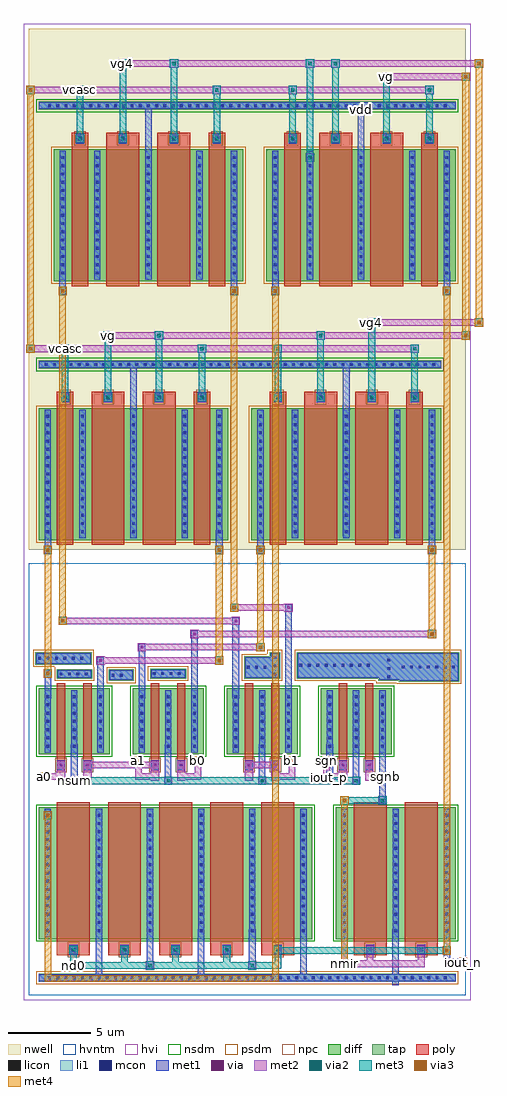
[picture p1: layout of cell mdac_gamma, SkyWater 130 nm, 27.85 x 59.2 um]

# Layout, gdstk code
import gdstk
lib = gdstk.Library(unit=1e-6, precision=1e-09)
def R(c, l, rs):  # rectangles x0, y0, x1, y1
    for r in rs: c.add(gdstk.rectangle(r[:2], r[2:], *l))
def A(c, l, x, y, w, h, nx, ny, dx, dy):  # array of equal rectangles
    R(c, l, [(x+i*dx, y+j*dy, x+i*dx+w, y+j*dy+h) for i in range(nx) for j in range(ny)])
def P(c, l, *ps):  # polygons
    for p in ps: c.add(gdstk.Polygon(p, *l))
nwell = (64, 20)
diff = (65, 20)
tap = (65, 44)
poly = (66, 20)
licon = (66, 44)
li1 = (67, 20)
mcon = (67, 44)
met1 = (68, 20)
via = (68, 44)
met2 = (69, 20)
via2 = (69, 44)
met3 = (70, 20)
via3 = (70, 44)
met4 = (71, 20)
hvi = (75, 20)
nsdm = (93, 44)
psdm = (94, 20)
npc = (95, 20)
hvntm = (125, 20)

mdac_gamma = lib.new_cell('mdac_gamma')
R(mdac_gamma, nwell, [(0.4,2.4,26.9,34)])
A(mdac_gamma, diff, 1, -10, 4.3, 4, 4, 1, 5.7, 0)
R(mdac_gamma, diff, [(1,-21.2,17.6,-13.2), (19,-21.2,26.3,-13.2), (1,3,12.5,11), (13.9,3,25.4,11), (1.9,18.7,13.4,26.7), (14.8,18.7,26.3,26.7)])
R(mdac_gamma, tap, [(1,-23.8,26.3,-23.3), (22.85,-5.6,26.5,-3.8), (5.25,-5.55,6.75,-4.85), (21.6,-5.55,22.85,-3.8), (2.1,-5.4,4.25,-4.85), (7.75,-5.4,9.945,-4.8), (13.45,-5.4,15,-4.05), (15,-5.4,15.65,-3.8), (16.65,-5.4,21.6,-3.8), (0.8,-4.55,4.2,-3.8), (1,13.4,25.4,13.9), (1,29.1,26.3,29.6)])
A(mdac_gamma, poly, 2.1, -22.2, 2, 0.7, 5, 1, 3.1, 0)
A(mdac_gamma, poly, 2.1, -21.5, 2, 8.6, 5, 1, 3.1, 0)
R(mdac_gamma, poly, [(20.1,-22.2,22.1,-21.5), (23.2,-22.2,25.2,-21.5), (20.1,-21.5,22.1,-12.9), (23.2,-21.5,25.2,-12.9), (2.1,-11,2.6,-10.3), (3.7,-11,4.2,-10.3), (7.8,-11,8.3,-10.3), (9.4,-11,9.9,-10.3), (13.5,-11,14,-10.3), (15.1,-11,15.6,-10.3), (19.2,-11,19.7,-10.3), (20.8,-11,21.3,-10.3), (2.1,-10.3,2.6,-5.7), (3.7,-10.3,4.2,-5.7), (7.8,-10.3,8.3,-5.7), (9.4,-10.3,9.9,-5.7), (13.5,-10.3,14,-5.7), (15.1,-10.3,15.6,-5.7), (19.2,-10.3,19.7,-5.7), (20.8,-10.3,21.3,-5.7), (2.1,2.7,3.1,12), (4.2,2.7,6.2,12), (7.3,2.7,9.3,12), (10.4,2.7,11.4,12), (15,2.7,16,12), (17.1,2.7,19.1,12), (20.2,2.7,22.2,12), (23.3,2.7,24.3,12), (3,18.4,4,27.7), (5.1,18.4,7.1,27.7), (8.2,18.4,10.2,27.7), (11.3,18.4,12.3,27.7), (15.9,18.4,16.9,27.7), (18,18.4,20,27.7), (21.1,18.4,23.1,27.7), (24.2,18.4,25.2,27.7)])
A(mdac_gamma, licon, 1.565, -23.635, 0.17, 0.17, 49, 2, 0.5, 52.9)
A(mdac_gamma, licon, 3.015, -21.935, 0.17, 0.17, 5, 1, 3.1, 0)
A(mdac_gamma, licon, 1.465, -20.785, 0.17, 0.17, 6, 15, 3.1, 0.5)
A(mdac_gamma, licon, 19.465, -20.785, 0.17, 0.17, 3, 15, 3.1, 0.5)
A(mdac_gamma, licon, 1.465, -9.585, 0.17, 0.17, 3, 7, 1.6, 0.5)
A(mdac_gamma, licon, 7.165, -9.585, 0.17, 0.17, 3, 7, 1.6, 0.5)
A(mdac_gamma, licon, 12.865, -9.585, 0.17, 0.17, 3, 7, 1.6, 0.5)
A(mdac_gamma, licon, 18.565, -9.585, 0.17, 0.17, 3, 7, 1.6, 0.5)
A(mdac_gamma, licon, 22.14, -5.385, 0.17, 0.17, 1, 3, 0, 0.51)
A(mdac_gamma, licon, 15.24, -5.235, 0.17, 0.17, 1, 3, 0, 0.51)
A(mdac_gamma, licon, 2.265, -5.21, 0.17, 0.17, 4, 1, 0.51, 0)
A(mdac_gamma, licon, 7.915, -5.185, 0.17, 0.17, 4, 1, 0.51, 0)
A(mdac_gamma, licon, 13.615, -4.81, 0.17, 0.17, 3, 1, 0.51, 0)
A(mdac_gamma, licon, 23.015, -4.785, 0.17, 0.17, 7, 1, 0.51, 0)
A(mdac_gamma, licon, 16.815, -4.685, 0.17, 0.17, 9, 1, 0.51, 0)
A(mdac_gamma, licon, 0.965, -4.26, 0.17, 0.17, 6, 1, 0.51, 0)
A(mdac_gamma, licon, 1.465, 3.415, 0.17, 0.17, 1, 15, 0, 0.5)
A(mdac_gamma, licon, 3.565, 3.415, 0.17, 0.17, 3, 15, 3.1, 0.5)
A(mdac_gamma, licon, 11.865, 3.415, 0.17, 0.17, 1, 15, 0, 0.5)
A(mdac_gamma, licon, 14.365, 3.415, 0.17, 0.17, 1, 15, 0, 0.5)
A(mdac_gamma, licon, 16.465, 3.415, 0.17, 0.17, 3, 15, 3.1, 0.5)
A(mdac_gamma, licon, 24.765, 3.415, 0.17, 0.17, 1, 15, 0, 0.5)
A(mdac_gamma, licon, 1.365, 13.565, 0.17, 0.17, 48, 1, 0.5, 0)
A(mdac_gamma, licon, 2.365, 19.115, 0.17, 0.17, 1, 15, 0, 0.5)
A(mdac_gamma, licon, 4.465, 19.115, 0.17, 0.17, 3, 15, 3.1, 0.5)
A(mdac_gamma, licon, 12.765, 19.115, 0.17, 0.17, 1, 15, 0, 0.5)
A(mdac_gamma, licon, 15.265, 19.115, 0.17, 0.17, 1, 15, 0, 0.5)
A(mdac_gamma, licon, 17.365, 19.115, 0.17, 0.17, 3, 15, 3.1, 0.5)
A(mdac_gamma, licon, 25.665, 19.115, 0.17, 0.17, 1, 15, 0, 0.5)
R(mdac_gamma, licon, [(21.015,-21.935,21.185,-21.765), (24.115,-21.935,24.285,-21.765), (2.265,-10.735,2.435,-10.565), (3.865,-10.735,4.035,-10.565), (7.965,-10.735,8.135,-10.565), (9.565,-10.735,9.735,-10.565), (13.665,-10.735,13.835,-10.565), (15.265,-10.735,15.435,-10.565), (19.365,-10.735,19.535,-10.565), (20.965,-10.735,21.135,-10.565), (5.415,-5.285,5.585,-5.115), (5.925,-5.285,6.095,-5.115), (2.515,11.565,2.685,11.735), (5.115,11.565,5.285,11.735), (8.215,11.565,8.385,11.735), (10.815,11.565,10.985,11.735), (15.415,11.565,15.585,11.735), (18.015,11.565,18.185,11.735), (21.115,11.565,21.285,11.735), (23.715,11.565,23.885,11.735), (3.415,27.265,3.585,27.435), (6.015,27.265,6.185,27.435), (9.115,27.265,9.285,27.435), (11.715,27.265,11.885,27.435), (16.315,27.265,16.485,27.435), (18.915,27.265,19.085,27.435), (22.015,27.265,22.185,27.435), (24.615,27.265,24.785,27.435)])
A(mdac_gamma, li1, 2.85, -22.15, 0.5, 0.6, 5, 1, 3.1, 0)
A(mdac_gamma, li1, 1.36, -21.1, 0.38, 7.8, 6, 1, 3.1, 0)
A(mdac_gamma, li1, 19.36, -21.1, 0.38, 7.8, 3, 1, 3.1, 0)
A(mdac_gamma, li1, 1.36, -9.9, 0.38, 3.8, 3, 1, 1.6, 0)
A(mdac_gamma, li1, 7.06, -9.9, 0.38, 3.8, 3, 1, 1.6, 0)
A(mdac_gamma, li1, 12.76, -9.9, 0.38, 3.8, 3, 1, 1.6, 0)
A(mdac_gamma, li1, 18.46, -9.9, 0.38, 3.8, 3, 1, 1.6, 0)
A(mdac_gamma, li1, 3.46, 3.1, 0.38, 7.8, 3, 1, 3.1, 0)
A(mdac_gamma, li1, 16.36, 3.1, 0.38, 7.8, 3, 1, 3.1, 0)
A(mdac_gamma, li1, 4.36, 18.8, 0.38, 7.8, 3, 1, 3.1, 0)
A(mdac_gamma, li1, 17.26, 18.8, 0.38, 7.8, 3, 1, 3.1, 0)
R(mdac_gamma, li1, [(1,-23.75,26.3,-23.35), (20.85,-22.15,21.35,-21.55), (23.95,-22.15,24.45,-21.55), (2.1,-10.95,2.6,-10.35), (3.7,-10.95,4.2,-10.35), (7.8,-10.95,8.3,-10.35), (9.4,-10.95,9.9,-10.35), (13.5,-10.95,14,-10.35), (15.1,-10.95,15.6,-10.35), (19.2,-10.95,19.7,-10.35), (20.8,-10.95,21.3,-10.35), (5.31,-5.49,6.69,-4.91), (2.16,-5.34,4.19,-4.91), (7.81,-5.34,9.885,-4.86), (0.86,-4.49,4.14,-3.86), (1.36,3.1,1.74,10.9), (11.76,3.1,12.14,10.9), (14.26,3.1,14.64,10.9), (24.66,3.1,25.04,10.9), (2.35,11.35,2.85,11.95), (4.95,11.35,5.45,11.95), (8.05,11.35,8.55,11.95), (10.65,11.35,11.15,11.95), (15.25,11.35,15.75,11.95), (17.85,11.35,18.35,11.95), (20.95,11.35,21.45,11.95), (23.55,11.35,24.05,11.95), (1,13.45,25.4,13.85), (2.26,18.8,2.64,26.6), (12.66,18.8,13.04,26.6), (15.16,18.8,15.54,26.6), (25.56,18.8,25.94,26.6), (3.25,27.05,3.75,27.65), (5.85,27.05,6.35,27.65), (8.95,27.05,9.45,27.65), (11.55,27.05,12.05,27.65), (16.15,27.05,16.65,27.65), (18.75,27.05,19.25,27.65), (21.85,27.05,22.35,27.65), (24.45,27.05,24.95,27.65), (1,29.15,26.3,29.55)])
P(mdac_gamma, li1, [(22.91,-5.54),(22.91,-5.49),(21.66,-5.49),(21.66,-5.34),(16.71,-5.34),(16.71,-3.86),(26.44,-3.86),(26.44,-5.54)],
  [(13.51,-5.34),(13.51,-4.11),(15.06,-4.11),(15.06,-3.86),(15.59,-3.86),(15.59,-5.34)])
A(mdac_gamma, mcon, 1.565, -23.635, 0.17, 0.17, 49, 2, 0.5, 52.9)
A(mdac_gamma, mcon, 3.015, -21.935, 0.17, 0.17, 5, 1, 3.1, 0)
A(mdac_gamma, mcon, 1.465, -20.785, 0.17, 0.17, 6, 15, 3.1, 0.5)
A(mdac_gamma, mcon, 19.465, -20.785, 0.17, 0.17, 3, 15, 3.1, 0.5)
A(mdac_gamma, mcon, 1.465, -9.585, 0.17, 0.17, 3, 7, 1.6, 0.5)
A(mdac_gamma, mcon, 7.165, -9.585, 0.17, 0.17, 3, 7, 1.6, 0.5)
A(mdac_gamma, mcon, 12.865, -9.585, 0.17, 0.17, 3, 7, 1.6, 0.5)
A(mdac_gamma, mcon, 18.565, -9.585, 0.17, 0.17, 3, 7, 1.6, 0.5)
A(mdac_gamma, mcon, 22.14, -5.385, 0.17, 0.17, 1, 3, 0, 0.51)
A(mdac_gamma, mcon, 15.24, -5.235, 0.17, 0.17, 1, 3, 0, 0.51)
A(mdac_gamma, mcon, 2.265, -5.21, 0.17, 0.17, 4, 1, 0.51, 0)
A(mdac_gamma, mcon, 7.915, -5.185, 0.17, 0.17, 4, 1, 0.51, 0)
A(mdac_gamma, mcon, 13.615, -4.81, 0.17, 0.17, 3, 1, 0.51, 0)
A(mdac_gamma, mcon, 23.015, -4.785, 0.17, 0.17, 7, 1, 0.51, 0)
A(mdac_gamma, mcon, 16.815, -4.685, 0.17, 0.17, 9, 1, 0.51, 0)
A(mdac_gamma, mcon, 0.965, -4.26, 0.17, 0.17, 6, 1, 0.51, 0)
A(mdac_gamma, mcon, 1.465, 3.415, 0.17, 0.17, 1, 15, 0, 0.5)
A(mdac_gamma, mcon, 3.565, 3.415, 0.17, 0.17, 3, 15, 3.1, 0.5)
A(mdac_gamma, mcon, 11.865, 3.415, 0.17, 0.17, 1, 15, 0, 0.5)
A(mdac_gamma, mcon, 14.365, 3.415, 0.17, 0.17, 1, 15, 0, 0.5)
A(mdac_gamma, mcon, 16.465, 3.415, 0.17, 0.17, 3, 15, 3.1, 0.5)
A(mdac_gamma, mcon, 24.765, 3.415, 0.17, 0.17, 1, 15, 0, 0.5)
A(mdac_gamma, mcon, 1.365, 13.565, 0.17, 0.17, 48, 1, 0.5, 0)
A(mdac_gamma, mcon, 2.365, 19.115, 0.17, 0.17, 1, 15, 0, 0.5)
A(mdac_gamma, mcon, 4.465, 19.115, 0.17, 0.17, 3, 15, 3.1, 0.5)
A(mdac_gamma, mcon, 12.765, 19.115, 0.17, 0.17, 1, 15, 0, 0.5)
A(mdac_gamma, mcon, 15.265, 19.115, 0.17, 0.17, 1, 15, 0, 0.5)
A(mdac_gamma, mcon, 17.365, 19.115, 0.17, 0.17, 3, 15, 3.1, 0.5)
A(mdac_gamma, mcon, 25.665, 19.115, 0.17, 0.17, 1, 15, 0, 0.5)
R(mdac_gamma, mcon, [(21.015,-21.935,21.185,-21.765), (24.115,-21.935,24.285,-21.765), (2.265,-10.735,2.435,-10.565), (3.865,-10.735,4.035,-10.565), (7.965,-10.735,8.135,-10.565), (9.565,-10.735,9.735,-10.565), (13.665,-10.735,13.835,-10.565), (15.265,-10.735,15.435,-10.565), (19.365,-10.735,19.535,-10.565), (20.965,-10.735,21.135,-10.565), (5.415,-5.285,5.585,-5.115), (5.925,-5.285,6.095,-5.115), (2.515,11.565,2.685,11.735), (5.115,11.565,5.285,11.735), (8.215,11.565,8.385,11.735), (10.815,11.565,10.985,11.735), (15.415,11.565,15.585,11.735), (18.015,11.565,18.185,11.735), (21.115,11.565,21.285,11.735), (23.715,11.565,23.885,11.735), (3.415,27.265,3.585,27.435), (6.015,27.265,6.185,27.435), (9.115,27.265,9.285,27.435), (11.715,27.265,11.885,27.435), (16.315,27.265,16.485,27.435), (18.915,27.265,19.085,27.435), (22.015,27.265,22.185,27.435), (24.615,27.265,24.785,27.435)])
A(mdac_gamma, met1, 4.45, -23.75, 0.4, 3.15, 3, 1, 6.2, 0)
A(mdac_gamma, met1, 2.85, -22.15, 0.5, 0.6, 5, 1, 3.1, 0)
A(mdac_gamma, met1, 2.91, -22.04, 0.38, 0.38, 5, 1, 3.1, 0)
A(mdac_gamma, met1, 1.36, -21.1, 0.38, 7.8, 6, 1, 3.1, 0)
A(mdac_gamma, met1, 19.36, -21.1, 0.38, 7.8, 3, 1, 3.1, 0)
A(mdac_gamma, met1, 2.95, -11.8, 0.4, 2.4, 4, 1, 5.7, 0)
A(mdac_gamma, met1, 2.96, -11.79, 0.38, 0.38, 4, 1, 5.7, 0)
A(mdac_gamma, met1, 1.36, -9.9, 0.38, 3.8, 3, 1, 1.6, 0)
A(mdac_gamma, met1, 7.06, -9.9, 0.38, 3.8, 3, 1, 1.6, 0)
A(mdac_gamma, met1, 12.76, -9.9, 0.38, 3.8, 3, 1, 1.6, 0)
A(mdac_gamma, met1, 18.46, -9.9, 0.38, 3.8, 3, 1, 1.6, 0)
A(mdac_gamma, met1, 3.46, 3.1, 0.38, 7.8, 3, 1, 3.1, 0)
A(mdac_gamma, met1, 16.36, 3.1, 0.38, 7.8, 3, 1, 3.1, 0)
A(mdac_gamma, met1, 4.36, 18.8, 0.38, 7.8, 3, 1, 3.1, 0)
A(mdac_gamma, met1, 17.26, 18.8, 0.38, 7.8, 3, 1, 3.1, 0)
R(mdac_gamma, met1, [(22.45,-24,22.85,-20.6), (1,-23.75,26.3,-23.35), (7.55,-23,7.95,-20.6), (13.75,-23,14.15,-20.6), (7.56,-22.99,7.94,-22.61), (13.76,-22.99,14.14,-22.61), (19.35,-22.9,19.75,-20.6), (19.36,-22.89,19.74,-22.51), (19.36,-22.89,19.74,-22.51), (25.55,-22.8,26.95,-22.4), (25.55,-22.8,25.95,-20.6), (25.55,-22.8,25.95,-22.4), (26.55,-22.8,26.95,-22.4), (26.56,-22.79,26.94,-22.41), (20.85,-22.15,21.35,-21.55), (23.95,-22.15,24.45,-21.55), (20.91,-22.04,21.29,-21.66), (24.01,-22.04,24.39,-21.66), (1.36,-13.89,1.74,-13.51), (21.65,-13,22.05,-9.4), (21.66,-12.99,22.04,-12.61), (18.45,-11.6,18.85,-9.4), (2.1,-10.95,2.6,-10.35), (3.7,-10.95,4.2,-10.35), (7.8,-10.95,8.3,-10.35), (9.4,-10.95,9.9,-10.35), (13.5,-10.95,14,-10.35), (15.1,-10.95,15.6,-10.35), (19.2,-10.95,19.7,-10.35), (20.8,-10.95,21.3,-10.35), (2.16,-10.84,2.54,-10.46), (3.76,-10.84,4.14,-10.46), (7.86,-10.84,8.24,-10.46), (9.46,-10.84,9.84,-10.46), (13.56,-10.84,13.94,-10.46), (15.16,-10.84,15.54,-10.46), (19.26,-10.84,19.64,-10.46), (20.86,-10.84,21.24,-10.46), (1.35,-6.6,1.75,-4.9), (4.55,-6.6,4.95,-4.1), (7.05,-6.6,7.45,-3.3), (10.25,-6.6,10.65,-2.5), (12.75,-6.6,13.15,-1.7), (15.95,-6.6,16.35,-0.9), (5.31,-5.49,6.69,-4.91), (2.16,-5.34,4.19,-4.91), (7.81,-5.34,9.885,-4.86), (1.36,-5.29,1.74,-4.91), (0.86,-4.49,4.14,-3.86), (4.56,-4.49,4.94,-4.11), (7.06,-3.69,7.44,-3.31), (10.26,-2.89,10.64,-2.51), (12.76,-2.09,13.14,-1.71), (15.96,-1.29,16.34,-0.91), (1.35,2.2,1.75,3.6), (11.75,2.2,12.15,3.6), (14.25,2.2,14.65,3.6), (24.65,2.2,25.05,3.6), (1.36,2.21,1.74,2.59), (11.76,2.21,12.14,2.59), (14.26,2.21,14.64,2.59), (24.66,2.21,25.04,2.59), (1.36,3.1,1.74,10.9), (11.76,3.1,12.14,10.9), (14.26,3.1,14.64,10.9), (24.66,3.1,25.04,10.9), (6.55,3.2,6.95,13.6), (19.45,3.2,19.85,13.6), (2.35,11.35,2.85,11.95), (4.95,11.35,5.45,11.95), (8.05,11.35,8.55,11.95), (10.65,11.35,11.15,11.95), (15.25,11.35,15.75,11.95), (17.85,11.35,18.35,11.95), (20.95,11.35,21.45,11.95), (23.55,11.35,24.05,11.95), (2.41,11.46,2.79,11.84), (5.01,11.46,5.39,11.84), (8.11,11.46,8.49,11.84), (10.71,11.46,11.09,11.84), (15.31,11.46,15.69,11.84), (17.91,11.46,18.29,11.84), (21.01,11.46,21.39,11.84), (23.61,11.46,23.99,11.84), (1,13.45,25.4,13.85), (2.25,17.9,2.65,19.3), (12.65,17.9,13.05,19.3), (15.15,17.9,15.55,19.3), (25.55,17.9,25.95,19.3), (2.26,17.91,2.64,18.29), (12.66,17.91,13.04,18.29), (15.16,17.91,15.54,18.29), (25.56,17.91,25.94,18.29), (2.26,18.8,2.64,26.6), (12.66,18.8,13.04,26.6), (15.16,18.8,15.54,26.6), (25.56,18.8,25.94,26.6), (7.45,18.9,7.85,29.3), (20.35,18.9,20.75,29.3), (17.26,26.01,17.64,26.39), (3.25,27.05,3.75,27.65), (5.85,27.05,6.35,27.65), (8.95,27.05,9.45,27.65), (11.55,27.05,12.05,27.65), (16.15,27.05,16.65,27.65), (18.75,27.05,19.25,27.65), (21.85,27.05,22.35,27.65), (24.45,27.05,24.95,27.65), (3.31,27.16,3.69,27.54), (5.91,27.16,6.29,27.54), (9.01,27.16,9.39,27.54), (11.61,27.16,11.99,27.54), (16.21,27.16,16.59,27.54), (18.81,27.16,19.19,27.54), (21.91,27.16,22.29,27.54), (24.51,27.16,24.89,27.54), (1,29.15,26.3,29.55)])
P(mdac_gamma, met1, [(22.91,-5.54),(22.91,-5.49),(21.66,-5.49),(21.66,-5.34),(16.71,-5.34),(16.71,-3.86),(26.44,-3.86),(26.44,-5.54)],
  [(13.51,-5.34),(13.51,-4.11),(15.06,-4.11),(15.06,-3.86),(15.59,-3.86),(15.59,-5.34)])
A(mdac_gamma, via, 3.025, -21.925, 0.15, 0.15, 5, 1, 3.1, 0)
A(mdac_gamma, via, 3.075, -11.675, 0.15, 0.15, 4, 1, 5.7, 0)
R(mdac_gamma, via, [(7.675,-22.875,7.825,-22.725), (13.875,-22.875,14.025,-22.725), (19.475,-22.775,19.625,-22.625), (19.475,-22.775,19.625,-22.625), (26.675,-22.675,26.825,-22.525), (21.025,-21.925,21.175,-21.775), (24.125,-21.925,24.275,-21.775), (1.475,-13.775,1.625,-13.625), (21.775,-12.875,21.925,-12.725), (2.275,-10.725,2.425,-10.575), (3.875,-10.725,4.025,-10.575), (7.975,-10.725,8.125,-10.575), (9.575,-10.725,9.725,-10.575), (13.675,-10.725,13.825,-10.575), (15.275,-10.725,15.425,-10.575), (19.375,-10.725,19.525,-10.575), (20.975,-10.725,21.125,-10.575), (1.475,-5.175,1.625,-5.025), (4.675,-4.375,4.825,-4.225), (7.175,-3.575,7.325,-3.425), (10.375,-2.775,10.525,-2.625), (12.875,-1.975,13.025,-1.825), (16.075,-1.175,16.225,-1.025), (1.475,2.325,1.625,2.475), (11.875,2.325,12.025,2.475), (14.375,2.325,14.525,2.475), (24.775,2.325,24.925,2.475), (2.525,11.575,2.675,11.725), (5.125,11.575,5.275,11.725), (8.225,11.575,8.375,11.725), (10.825,11.575,10.975,11.725), (15.425,11.575,15.575,11.725), (18.025,11.575,18.175,11.725), (21.125,11.575,21.275,11.725), (23.725,11.575,23.875,11.725), (2.375,18.025,2.525,18.175), (12.775,18.025,12.925,18.175), (15.275,18.025,15.425,18.175), (25.675,18.025,25.825,18.175), (17.375,26.125,17.525,26.275), (3.425,27.275,3.575,27.425), (6.025,27.275,6.175,27.425), (9.125,27.275,9.275,27.425), (11.725,27.275,11.875,27.425), (16.325,27.275,16.475,27.425), (18.925,27.275,19.075,27.425), (22.025,27.275,22.175,27.425), (24.625,27.275,24.775,27.425)])
R(mdac_gamma, met2, [(7.5,-23.05,8,-22.55), (7.5,-23.05,8,-22.55), (13.7,-23.05,14.2,-22.55), (13.7,-23.05,14.2,-22.55), (19.3,-22.95,19.8,-22.45), (19.3,-22.95,19.8,-22.45), (19.3,-22.95,19.8,-22.45), (19.35,-22.9,24.4,-22.5), (20.9,-22.9,21.3,-21.65), (24,-22.9,24.4,-21.65), (26.5,-22.85,27,-22.35), (26.5,-22.85,27,-22.35), (2.85,-22.1,3.35,-21.6), (2.85,-22.1,3.35,-21.6), (5.95,-22.1,6.45,-21.6), (5.95,-22.1,6.45,-21.6), (9.05,-22.1,9.55,-21.6), (9.05,-22.1,9.55,-21.6), (12.15,-22.1,12.65,-21.6), (12.15,-22.1,12.65,-21.6), (15.25,-22.1,15.75,-21.6), (15.25,-22.1,15.75,-21.6), (20.85,-22.1,21.35,-21.6), (23.95,-22.1,24.45,-21.6), (1.3,-13.95,1.8,-13.45), (1.3,-13.95,1.8,-13.45), (21.6,-13.05,22.1,-12.55), (21.6,-13.05,22.1,-12.55), (2.9,-11.85,3.4,-11.35), (2.9,-11.85,3.4,-11.35), (8.6,-11.85,9.1,-11.35), (8.6,-11.85,9.1,-11.35), (14.3,-11.85,14.8,-11.35), (14.3,-11.85,14.8,-11.35), (20,-11.85,20.5,-11.35), (20,-11.85,20.5,-11.35), (1.1,-11.6,1.6,-11.1), (2.1,-11.6,2.6,-10.4), (3.7,-11.6,4.2,-10.4), (7.8,-11.6,8.3,-10.4), (9.4,-11.6,9.9,-10.4), (13.5,-11.6,14,-10.4), (15.1,-11.6,15.6,-10.4), (19.2,-11.6,19.7,-10.4), (20.8,-11.6,21.3,-10.4), (21.8,-11.6,22.3,-11.1), (1.15,-11.55,2.55,-11.15), (1.15,-11.55,1.55,-11.15), (6.85,-11.55,8.25,-11.15), (6.85,-11.55,7.25,-10.15), (9.45,-11.55,10.85,-11.15), (10.45,-11.55,10.85,-10.15), (15.15,-11.55,16.55,-11.15), (16.15,-11.55,16.55,-10.15), (18.25,-11.55,19.65,-11.15), (18.25,-11.55,18.65,-10.15), (20.85,-11.55,22.25,-11.15), (21.85,-11.55,22.25,-11.15), (2.1,-10.9,2.6,-10.4), (3.7,-10.9,4.2,-10.4), (7.8,-10.9,8.3,-10.4), (9.4,-10.9,9.9,-10.4), (13.5,-10.9,14,-10.4), (15.1,-10.9,15.6,-10.4), (19.2,-10.9,19.7,-10.4), (20.8,-10.9,21.3,-10.4), (3.75,-10.85,8.25,-10.45), (13.55,-10.85,15.55,-10.45), (6.8,-10.6,7.3,-10.1), (10.4,-10.6,10.9,-10.1), (16.1,-10.6,16.6,-10.1), (18.2,-10.6,18.7,-10.1), (1.3,-5.35,1.8,-4.85), (1.3,-5.35,1.8,-4.85), (1.35,-5.3,1.75,-4.9), (4.5,-4.55,5,-4.05), (11.7,-4.55,12.2,-4.05), (4.55,-4.5,12.15,-4.1), (7,-3.75,7.5,-3.25), (14.2,-3.75,14.7,-3.25), (7.05,-3.7,14.65,-3.3), (10.2,-2.95,10.7,-2.45), (24.6,-2.95,25.1,-2.45), (10.25,-2.9,25.05,-2.5), (2.2,-2.15,2.7,-1.65), (12.7,-2.15,13.2,-1.65), (2.25,-2.1,13.15,-1.7), (12.6,-1.35,13.1,-0.85), (15.9,-1.35,16.4,-0.85), (12.65,-1.3,16.35,-0.9), (1.3,2.15,1.8,2.65), (1.3,2.15,1.8,2.65), (11.7,2.15,12.2,2.65), (11.7,2.15,12.2,2.65), (14.2,2.15,14.7,2.65), (14.2,2.15,14.7,2.65), (24.6,2.15,25.1,2.65), (24.6,2.15,25.1,2.65), (2.35,11.4,2.85,11.9), (2.35,11.4,2.85,11.9), (4.95,11.4,5.45,11.9), (4.95,11.4,5.45,11.9), (8.05,11.4,8.55,11.9), (8.05,11.4,8.55,11.9), (10.65,11.4,11.15,11.9), (10.65,11.4,11.15,11.9), (15.25,11.4,15.75,11.9), (15.25,11.4,15.75,11.9), (17.85,11.4,18.35,11.9), (17.85,11.4,18.35,11.9), (20.95,11.4,21.45,11.9), (20.95,11.4,21.45,11.9), (23.55,11.4,24.05,11.9), (23.55,11.4,24.05,11.9), (0.25,14.35,0.75,14.85), (2.35,14.35,2.85,14.85), (10.65,14.35,11.15,14.85), (15.25,14.35,15.75,14.85), (23.55,14.35,24.05,14.85), (0.3,14.4,2.8,14.8), (2.4,14.4,24,14.8), (4.95,15.15,5.45,15.65), (8.05,15.15,8.55,15.65), (17.85,15.15,18.35,15.65), (26.65,15.15,27.15,15.65), (5,15.2,27.1,15.6), (5,15.2,18.3,15.6), (20.95,15.95,21.45,16.45), (27.45,15.95,27.95,16.45), (21,16,21.4,16.4), (21,16,27.9,16.4), (2.2,17.85,2.7,18.35), (2.2,17.85,2.7,18.35), (12.6,17.85,13.1,18.35), (12.6,17.85,13.1,18.35), (15.1,17.85,15.6,18.35), (15.1,17.85,15.6,18.35), (25.5,17.85,26,18.35), (25.5,17.85,26,18.35), (17.2,25.95,17.7,26.45), (17.2,25.95,17.7,26.45), (3.25,27.1,3.75,27.6), (3.25,27.1,3.75,27.6), (5.85,27.1,6.35,27.6), (5.85,27.1,6.35,27.6), (8.95,27.1,9.45,27.6), (8.95,27.1,9.45,27.6), (11.55,27.1,12.05,27.6), (11.55,27.1,12.05,27.6), (16.15,27.1,16.65,27.6), (16.15,27.1,16.65,27.6), (18.75,27.1,19.25,27.6), (18.75,27.1,19.25,27.6), (21.85,27.1,22.35,27.6), (21.85,27.1,22.35,27.6), (24.45,27.1,24.95,27.6), (24.45,27.1,24.95,27.6), (0.25,30.05,0.75,30.55), (3.25,30.05,3.75,30.55), (11.55,30.05,12.05,30.55), (16.15,30.05,16.65,30.55), (24.45,30.05,24.95,30.55), (0.3,30.1,3.7,30.5), (3.3,30.1,24.9,30.5), (21.85,30.85,22.35,31.35), (26.65,30.85,27.15,31.35), (21.9,30.9,22.3,31.3), (21.9,30.9,27.1,31.3), (5.85,31.65,6.35,32.15), (8.95,31.65,9.45,32.15), (17.2,31.65,17.7,32.15), (18.75,31.65,19.25,32.15), (27.45,31.65,27.95,32.15), (5.9,31.7,27.9,32.1), (5.9,31.7,19.2,32.1)])
A(mdac_gamma, via2, 3, -21.95, 0.2, 0.2, 5, 1, 3.1, 0)
A(mdac_gamma, via2, 3.05, -11.7, 0.2, 0.2, 4, 1, 5.7, 0)
R(mdac_gamma, via2, [(7.65,-22.9,7.85,-22.7), (13.85,-22.9,14.05,-22.7), (19.45,-22.8,19.65,-22.6), (26.65,-22.7,26.85,-22.5), (1.45,-13.8,1.65,-13.6), (21.75,-12.9,21.95,-12.7), (1.25,-11.45,1.45,-11.25), (21.95,-11.45,22.15,-11.25), (6.95,-10.45,7.15,-10.25), (10.55,-10.45,10.75,-10.25), (16.25,-10.45,16.45,-10.25), (18.35,-10.45,18.55,-10.25), (1.45,-5.2,1.65,-5), (11.85,-4.4,12.05,-4.2), (14.35,-3.6,14.55,-3.4), (24.75,-2.8,24.95,-2.6), (2.35,-2,2.55,-1.8), (12.75,-1.2,12.95,-1), (1.45,2.3,1.65,2.5), (11.85,2.3,12.05,2.5), (14.35,2.3,14.55,2.5), (24.75,2.3,24.95,2.5), (2.5,11.55,2.7,11.75), (5.1,11.55,5.3,11.75), (8.2,11.55,8.4,11.75), (10.8,11.55,11,11.75), (15.4,11.55,15.6,11.75), (18,11.55,18.2,11.75), (21.1,11.55,21.3,11.75), (23.7,11.55,23.9,11.75), (0.4,14.5,0.6,14.7), (2.5,14.5,2.7,14.7), (10.8,14.5,11,14.7), (15.4,14.5,15.6,14.7), (23.7,14.5,23.9,14.7), (5.1,15.3,5.3,15.5), (8.2,15.3,8.4,15.5), (18,15.3,18.2,15.5), (26.8,15.3,27,15.5), (21.1,16.1,21.3,16.3), (27.6,16.1,27.8,16.3), (2.35,18,2.55,18.2), (12.75,18,12.95,18.2), (15.25,18,15.45,18.2), (25.65,18,25.85,18.2), (17.35,26.1,17.55,26.3), (3.4,27.25,3.6,27.45), (6,27.25,6.2,27.45), (9.1,27.25,9.3,27.45), (11.7,27.25,11.9,27.45), (16.3,27.25,16.5,27.45), (18.9,27.25,19.1,27.45), (22,27.25,22.2,27.45), (24.6,27.25,24.8,27.45), (0.4,30.2,0.6,30.4), (3.4,30.2,3.6,30.4), (11.7,30.2,11.9,30.4), (16.3,30.2,16.5,30.4), (24.6,30.2,24.8,30.4), (22,31,22.2,31.2), (26.8,31,27,31.2), (6,31.8,6.2,32), (9.1,31.8,9.3,32), (17.35,31.8,17.55,32), (18.9,31.8,19.1,32), (27.6,31.8,27.8,32)])
A(mdac_gamma, met3, 2.9, -23, 0.4, 1.35, 5, 1, 3.1, 0)
A(mdac_gamma, met3, 2.85, -22.1, 0.5, 0.5, 5, 1, 3.1, 0)
A(mdac_gamma, met3, 2.9, -11.85, 0.5, 0.5, 4, 1, 5.7, 0)
R(mdac_gamma, met3, [(7.5,-23.05,8,-22.55), (13.7,-23.05,14.2,-22.55), (2.9,-23,15.7,-22.6), (15.3,-23,15.7,-21.7), (19.3,-22.95,19.8,-22.45), (19.3,-22.95,19.8,-22.45), (26.5,-22.85,27,-22.35), (26.5,-22.85,27,-22.35), (25.5,-22.15,26,-21.65), (15.3,-22.1,25.95,-21.7), (1.3,-13.95,1.8,-13.45), (1.3,-13.95,1.8,-13.45), (19.3,-13.05,19.8,-12.55), (21.6,-13.05,22.1,-12.55), (19.35,-13,22.05,-12.6), (2.95,-11.8,20.45,-11.4), (1.1,-11.6,1.6,-11.1), (1.1,-11.6,1.6,-11.1), (21.8,-11.6,22.3,-11.1), (21.8,-11.6,22.3,-11.1), (6.8,-10.6,7.3,-10.1), (6.8,-10.6,7.3,-10.1), (10.4,-10.6,10.9,-10.1), (10.4,-10.6,10.9,-10.1), (16.1,-10.6,16.6,-10.1), (16.1,-10.6,16.6,-10.1), (18.2,-10.6,18.7,-10.1), (18.2,-10.6,18.7,-10.1), (1.3,-5.35,1.8,-4.85), (1.3,-5.35,1.8,-4.85), (11.7,-4.55,12.2,-4.05), (11.7,-4.55,12.2,-4.05), (14.2,-3.75,14.7,-3.25), (14.2,-3.75,14.7,-3.25), (24.6,-2.95,25.1,-2.45), (24.6,-2.95,25.1,-2.45), (2.2,-2.15,2.7,-1.65), (2.2,-2.15,2.7,-1.65), (12.6,-1.35,13.1,-0.85), (12.6,-1.35,13.1,-0.85), (1.3,2.15,1.8,2.65), (1.3,2.15,1.8,2.65), (11.7,2.15,12.2,2.65), (11.7,2.15,12.2,2.65), (14.2,2.15,14.7,2.65), (14.2,2.15,14.7,2.65), (24.6,2.15,25.1,2.65), (24.6,2.15,25.1,2.65), (2.35,11.4,2.85,11.9), (4.95,11.4,5.45,11.9), (8.05,11.4,8.55,11.9), (10.65,11.4,11.15,11.9), (15.25,11.4,15.75,11.9), (17.85,11.4,18.35,11.9), (20.95,11.4,21.45,11.9), (23.55,11.4,24.05,11.9), (2.4,11.45,2.8,14.8), (5,11.45,5.4,15.6), (8.1,11.45,8.5,15.6), (10.7,11.45,11.1,14.8), (15.3,11.45,15.7,14.8), (17.9,11.45,18.3,15.6), (21,11.45,21.4,16.4), (23.6,11.45,24,14.8), (0.25,14.35,0.75,14.85), (0.25,14.35,0.75,14.85), (2.35,14.35,2.85,14.85), (10.65,14.35,11.15,14.85), (15.25,14.35,15.75,14.85), (23.55,14.35,24.05,14.85), (4.95,15.15,5.45,15.65), (8.05,15.15,8.55,15.65), (17.85,15.15,18.35,15.65), (26.65,15.15,27.15,15.65), (26.65,15.15,27.15,15.65), (20.95,15.95,21.45,16.45), (27.45,15.95,27.95,16.45), (27.45,15.95,27.95,16.45), (2.2,17.85,2.7,18.35), (2.2,17.85,2.7,18.35), (12.6,17.85,13.1,18.35), (12.6,17.85,13.1,18.35), (15.1,17.85,15.6,18.35), (15.1,17.85,15.6,18.35), (25.5,17.85,26,18.35), (25.5,17.85,26,18.35), (17.2,25.95,17.7,26.45), (17.25,26,17.65,32.1), (3.25,27.1,3.75,27.6), (5.85,27.1,6.35,27.6), (8.95,27.1,9.45,27.6), (11.55,27.1,12.05,27.6), (16.15,27.1,16.65,27.6), (18.75,27.1,19.25,27.6), (21.85,27.1,22.35,27.6), (24.45,27.1,24.95,27.6), (3.3,27.15,3.7,30.5), (5.9,27.15,6.3,32.1), (9,27.15,9.4,32.1), (11.6,27.15,12,30.5), (16.2,27.15,16.6,30.5), (18.8,27.15,19.2,32.1), (21.9,27.15,22.3,31.3), (24.5,27.15,24.9,30.5), (0.25,30.05,0.75,30.55), (0.25,30.05,0.75,30.55), (3.25,30.05,3.75,30.55), (11.55,30.05,12.05,30.55), (16.15,30.05,16.65,30.55), (24.45,30.05,24.95,30.55), (21.85,30.85,22.35,31.35), (26.65,30.85,27.15,31.35), (26.65,30.85,27.15,31.35), (5.85,31.65,6.35,32.15), (8.95,31.65,9.45,32.15), (17.2,31.65,17.7,32.15), (18.75,31.65,19.25,32.15), (27.45,31.65,27.95,32.15), (27.45,31.65,27.95,32.15)])
R(mdac_gamma, via3, [(19.45,-22.8,19.65,-22.6), (26.65,-22.7,26.85,-22.5), (25.65,-22,25.85,-21.8), (1.45,-13.8,1.65,-13.6), (19.45,-12.9,19.65,-12.7), (1.25,-11.45,1.45,-11.25), (21.95,-11.45,22.15,-11.25), (6.95,-10.45,7.15,-10.25), (10.55,-10.45,10.75,-10.25), (16.25,-10.45,16.45,-10.25), (18.35,-10.45,18.55,-10.25), (1.45,-5.2,1.65,-5), (11.85,-4.4,12.05,-4.2), (14.35,-3.6,14.55,-3.4), (24.75,-2.8,24.95,-2.6), (2.35,-2,2.55,-1.8), (12.75,-1.2,12.95,-1), (1.45,2.3,1.65,2.5), (11.85,2.3,12.05,2.5), (14.35,2.3,14.55,2.5), (24.75,2.3,24.95,2.5), (0.4,14.5,0.6,14.7), (26.8,15.3,27,15.5), (27.6,16.1,27.8,16.3), (2.35,18,2.55,18.2), (12.75,18,12.95,18.2), (15.25,18,15.45,18.2), (25.65,18,25.85,18.2), (0.4,30.2,0.6,30.4), (26.8,31,27,31.2), (27.6,31.8,27.8,32)])
R(mdac_gamma, met4, [(1.35,-23.8,15.55,-23.4), (1.35,-23.8,1.75,-13.5), (15.15,-23.8,15.55,18.3), (19.3,-22.95,19.8,-22.45), (19.35,-22.9,19.75,-12.6), (26.5,-22.85,27,-22.35), (25.5,-22.15,26,-21.65), (25.55,-22.1,25.95,18.3), (1.3,-13.95,1.8,-13.45), (19.3,-13.05,19.8,-12.55), (1.1,-11.6,1.6,-11.1), (21.8,-11.6,22.3,-11.1), (6.8,-10.6,7.3,-10.1), (10.4,-10.6,10.9,-10.1), (16.1,-10.6,16.6,-10.1), (18.2,-10.6,18.7,-10.1), (1.3,-5.35,1.8,-4.85), (1.35,-5.3,1.75,2.6), (11.7,-4.55,12.2,-4.05), (11.75,-4.5,12.15,2.6), (14.2,-3.75,14.7,-3.25), (14.25,-3.7,14.65,2.6), (24.6,-2.95,25.1,-2.45), (24.65,-2.9,25.05,2.6), (2.2,-2.15,2.7,-1.65), (2.25,-2.1,2.65,18.3), (12.6,-1.35,13.1,-0.85), (12.65,-1.3,13.05,18.3), (1.3,2.15,1.8,2.65), (11.7,2.15,12.2,2.65), (14.2,2.15,14.7,2.65), (24.6,2.15,25.1,2.65), (0.25,14.35,0.75,14.85), (0.3,14.4,0.7,30.5), (26.65,15.15,27.15,15.65), (26.7,15.2,27.1,31.3), (27.45,15.95,27.95,16.45), (27.5,16,27.9,32.1), (2.2,17.85,2.7,18.35), (12.6,17.85,13.1,18.35), (15.1,17.85,15.6,18.35), (25.5,17.85,26,18.35), (0.25,30.05,0.75,30.55), (26.65,30.85,27.15,31.35), (27.45,31.65,27.95,32.15)])
R(mdac_gamma, hvi, [(0.1,-24.9,27.2,34.3), (22.52,-5.93,26.83,-3.47), (4.92,-5.88,7.08,-4.52), (21.27,-5.88,23.18,-3.47), (1.77,-5.73,4.58,-4.52), (7.42,-5.73,10.275,-4.47), (13.12,-5.73,15.33,-3.72), (14.67,-5.73,15.98,-3.47), (16.32,-5.73,21.93,-3.47), (0.47,-4.88,4.53,-3.47)])
A(mdac_gamma, nsdm, 0.85, -10.15, 4.6, 4.3, 4, 1, 5.7, 0)
R(mdac_gamma, nsdm, [(0.85,-21.35,17.75,-13.05), (18.85,-21.35,26.45,-13.05), (0.85,13.25,25.55,14.05), (0.85,28.95,26.45,29.75)])
R(mdac_gamma, psdm, [(0.85,-23.95,26.45,-23.15), (5.12,-5.68,6.88,-4.72), (7.62,-5.53,10.075,-4.67), (0.85,2.85,12.65,11.15), (13.75,2.85,25.55,11.15), (1.75,18.55,13.55,26.85), (14.65,18.55,26.45,26.85)])
P(mdac_gamma, psdm, [(22.72,-5.73),(22.72,-5.68),(21.47,-5.68),(21.47,-5.53),(16.52,-5.53),(16.52,-3.67),(26.63,-3.67),(26.63,-5.73)],
  [(13.32,-5.53),(13.32,-3.92),(14.87,-3.92),(14.87,-3.67),(15.78,-3.67),(15.78,-5.53)],
  [(1.97,-5.53),(1.97,-4.68),(0.67,-4.68),(0.67,-3.67),(4.33,-3.67),(4.33,-4.72),(4.38,-4.72),(4.38,-5.53)])
A(mdac_gamma, npc, 2.75, -22.3, 0.7, 0.9, 5, 1, 3.1, 0)
R(mdac_gamma, npc, [(20.75,-22.3,21.45,-21.4), (23.85,-22.3,24.55,-21.4), (2,-11.1,2.7,-10.2), (3.6,-11.1,4.3,-10.2), (7.7,-11.1,8.4,-10.2), (9.3,-11.1,10,-10.2), (13.4,-11.1,14.1,-10.2), (15,-11.1,15.7,-10.2), (19.1,-11.1,19.8,-10.2), (20.7,-11.1,21.4,-10.2), (2.25,11.2,2.95,12.1), (4.85,11.2,5.55,12.1), (7.95,11.2,8.65,12.1), (10.55,11.2,11.25,12.1), (15.15,11.2,15.85,12.1), (17.75,11.2,18.45,12.1), (20.85,11.2,21.55,12.1), (23.45,11.2,24.15,12.1), (3.15,26.9,3.85,27.8), (5.75,26.9,6.45,27.8), (8.85,26.9,9.55,27.8), (11.45,26.9,12.15,27.8), (16.05,26.9,16.75,27.8), (18.65,26.9,19.35,27.8), (21.75,26.9,22.45,27.8), (24.35,26.9,25.05,27.8)])
R(mdac_gamma, hvntm, [(0.4,-24.6,26.9,1.6)])
mdac_gamma.add(gdstk.Label('iout_p', (18.65,-11.4), layer=68, texttype=5))
mdac_gamma.add(gdstk.Label('vdd', (20.55,29.1), layer=68, texttype=5))
mdac_gamma.add(gdstk.Label('iout_n', (26.75,-22.6), layer=71, texttype=5))
mdac_gamma.add(gdstk.Label('sgnb', (22.05,-11.35), layer=71, texttype=5))
mdac_gamma.add(gdstk.Label('sgn', (18.45,-10.35), layer=71, texttype=5))
mdac_gamma.add(gdstk.Label('b1', (16.35,-10.35), layer=71, texttype=5))
mdac_gamma.add(gdstk.Label('b0', (10.65,-10.35), layer=71, texttype=5))
mdac_gamma.add(gdstk.Label('a1', (7.05,-10.35), layer=71, texttype=5))
mdac_gamma.add(gdstk.Label('a0', (1.35,-11.35), layer=71, texttype=5))
mdac_gamma.add(gdstk.Label('nd0', (3.1,-22.8), layer=69, texttype=5))
mdac_gamma.add(gdstk.Label('nmir', (19.55,-22.7), layer=69, texttype=5))
mdac_gamma.add(gdstk.Label('nsum', (3.15,-11.6), layer=69, texttype=5))
mdac_gamma.add(gdstk.Label('vg4', (21.2,16.2), layer=69, texttype=5))
mdac_gamma.add(gdstk.Label('vg4', (6.1,31.9), layer=69, texttype=5))
mdac_gamma.add(gdstk.Label('vg', (5.2,15.4), layer=69, texttype=5))
mdac_gamma.add(gdstk.Label('vg', (22.1,31.1), layer=69, texttype=5))
mdac_gamma.add(gdstk.Label('vcasc', (2.6,14.6), layer=69, texttype=5))
mdac_gamma.add(gdstk.Label('vcasc', (3.5,30.3), layer=69, texttype=5))

lib.write_gds('mdac_gamma.gds')
